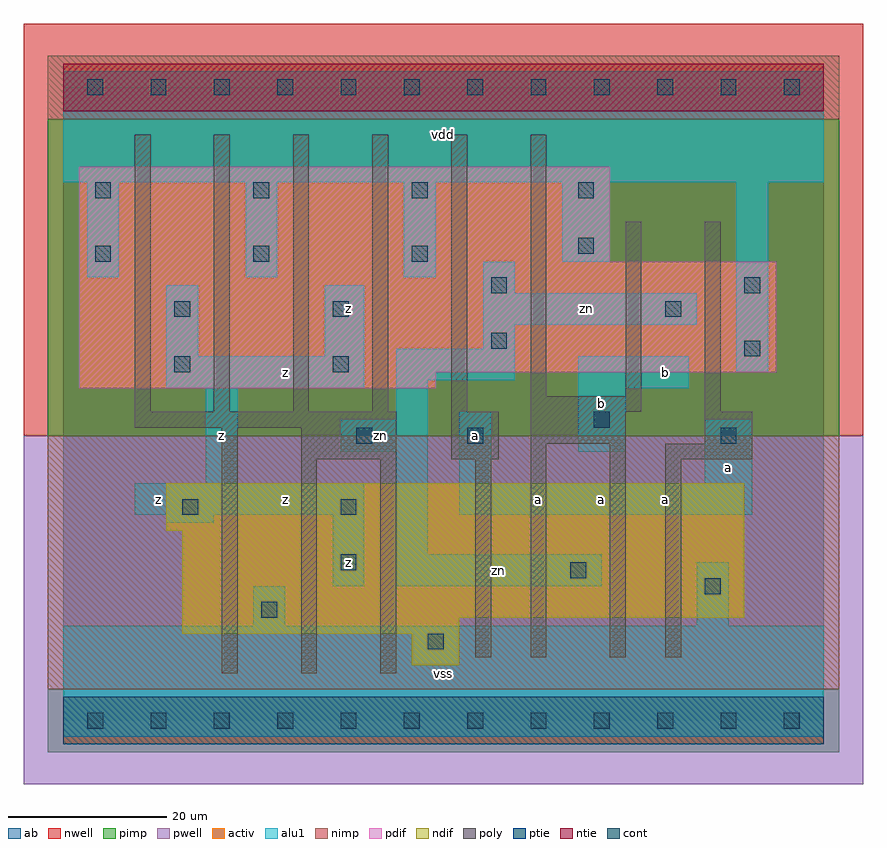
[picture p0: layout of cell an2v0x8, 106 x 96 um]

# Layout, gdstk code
import gdstk
lib = gdstk.Library(unit=1e-6, precision=1e-09)
def R(c, l, rs):  # rectangles x0, y0, x1, y1
    for r in rs: c.add(gdstk.rectangle(r[:2], r[2:], *l))
def A(c, l, x, y, w, h, nx, ny, dx, dy):  # array of equal rectangles
    R(c, l, [(x+i*dx, y+j*dy, x+i*dx+w, y+j*dy+h) for i in range(nx) for j in range(ny)])
ndif = (3, 0)
pdif = (4, 0)
ntie = (5, 0)
ptie = (6, 0)
cont = (25, 0)
pwell = (41, 0)
nwell = (42, 0)
activ = (43, 0)
pimp = (44, 0)
nimp = (45, 0)
poly = (46, 0)
alu1 = (49, 0)
ab = (63, 0)

an2v0x8 = lib.new_cell('an2v0x8')
R(an2v0x8, ndif, [(44,7,50,11), (15,11,50,13), (15,13,86,24), (13,24,86,30)])
R(an2v0x8, pdif, [(2,42,47,44), (2,44,90,58), (2,58,69,70)])
R(an2v0x8, ntie, [(0,77,96,83)])
R(an2v0x8, ptie, [(0,-3,96,3)])
A(an2v0x8, cont, 3, -1, 2, 2, 12, 2, 8, 80)
A(an2v0x8, cont, 4, 58, 2, 2, 3, 2, 20, 8)
R(an2v0x8, cont, [(46,9,48,11), (25,13,27,15), (81,16,83,18), (64,18,66,20), (35,19,37,21), (15,26,17,28), (35,26,37,28), (37,35,39,37), (51,35,53,37), (83,35,85,37), (67,37,69,39), (14,44,16,46), (34,44,36,46), (86,46,88,48), (54,47,56,49), (14,51,16,53), (34,51,36,53), (76,51,78,53), (54,54,56,56), (86,54,88,56), (65,59,67,61), (65,66,67,68)])
R(an2v0x8, pwell, [(-5,-8,101,36)])
R(an2v0x8, nwell, [(-5,36,101,88)])
R(an2v0x8, activ, [(0,-3,96,3), (44,7,50,11), (15,11,50,13), (15,13,86,24), (13,24,86,30), (2,42,47,44), (2,44,90,58), (2,58,69,70), (0,77,96,83)])
R(an2v0x8, pimp, [(-2,-4,98,4), (-2,36,98,76)])
R(an2v0x8, nimp, [(-2,4,98,36), (-2,76,98,84)])
A(an2v0x8, poly, 9, 39, 2, 35, 5, 1, 10, 0)
R(an2v0x8, poly, [(20,6,22,37), (30,6,32,33), (40,6,42,33), (52,8,54,33), (59,8,61,35), (69,8,71,35), (76,8,78,33), (30,33,42,37), (49,33,55,39), (76,33,87,35), (59,35,71,39), (81,35,87,39), (9,37,42,39), (59,39,73,41), (81,39,83,63), (59,41,61,74), (71,41,73,63)])
A(an2v0x8, alu1, 3, 56, 4, 12, 3, 1, 20, 0)
R(an2v0x8, alu1, [(0,-2,96,12), (24,12,28,17), (80,12,84,20), (34,17,38,26), (42,17,68,21), (42,21,46,34), (13,25,19,26), (9,26,38,30), (50,26,87,30), (18,30,22,42), (50,30,54,39), (81,30,87,38), (35,34,46,38), (65,34,71,42), (42,38,46,43), (13,42,38,46), (65,42,79,46), (42,43,57,47), (85,44,89,68), (13,46,17,55), (33,46,38,55), (53,47,57,50), (53,50,80,54), (53,54,57,58), (63,58,69,68), (0,68,96,82)])
R(an2v0x8, ab, [(0,0,96,80)])
an2v0x8.add(gdstk.Label('zn', (40,36), layer=49, texttype=0))
an2v0x8.add(gdstk.Label('zn', (55,19), layer=49, texttype=0))
an2v0x8.add(gdstk.Label('zn', (66,52), layer=49, texttype=0))
an2v0x8.add(gdstk.Label('z', (20,36), layer=49, texttype=0))
an2v0x8.add(gdstk.Label('z', (12,28), layer=49, texttype=0))
an2v0x8.add(gdstk.Label('z', (36,20), layer=49, texttype=0))
an2v0x8.add(gdstk.Label('z', (28,28), layer=49, texttype=0))
an2v0x8.add(gdstk.Label('z', (28,44), layer=49, texttype=0))
an2v0x8.add(gdstk.Label('z', (36,52), layer=49, texttype=0))
an2v0x8.add(gdstk.Label('vss', (48,6), layer=49, texttype=0))
an2v0x8.add(gdstk.Label('a', (52,36), layer=49, texttype=0))
an2v0x8.add(gdstk.Label('a', (60,28), layer=49, texttype=0))
an2v0x8.add(gdstk.Label('a', (68,28), layer=49, texttype=0))
an2v0x8.add(gdstk.Label('b', (68,40), layer=49, texttype=0))
an2v0x8.add(gdstk.Label('vdd', (48,74), layer=49, texttype=0))
an2v0x8.add(gdstk.Label('a', (76,28), layer=49, texttype=0))
an2v0x8.add(gdstk.Label('a', (84,32), layer=49, texttype=0))
an2v0x8.add(gdstk.Label('b', (76,44), layer=49, texttype=0))

lib.write_gds('an2v0x8.gds')
